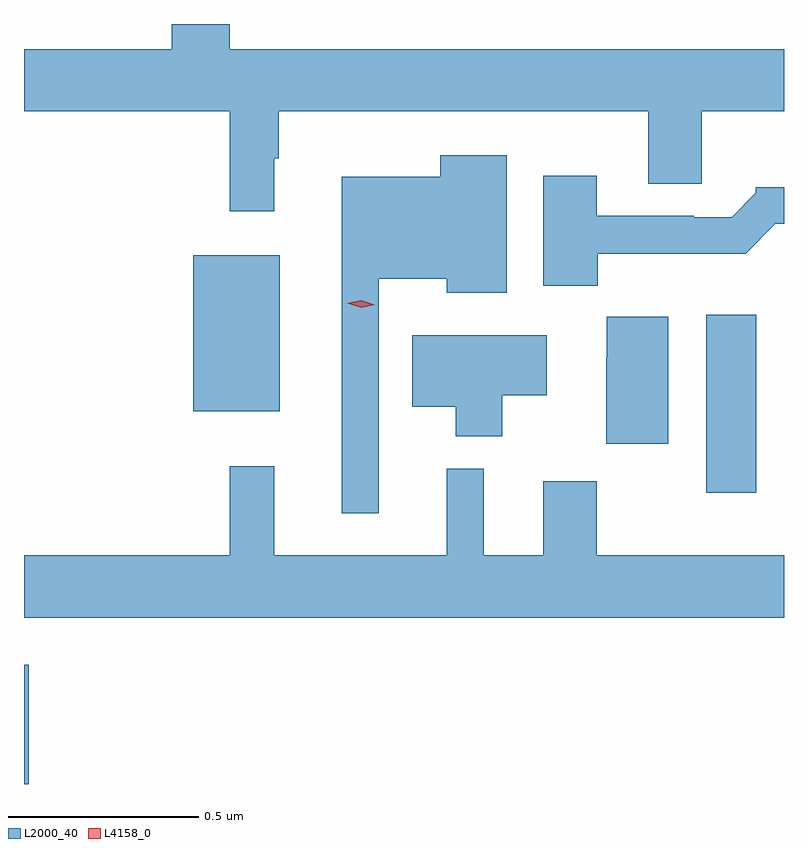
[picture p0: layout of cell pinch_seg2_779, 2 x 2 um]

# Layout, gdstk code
import gdstk
lib = gdstk.Library(unit=1e-6, precision=1e-09)
def R(c, l, rs):  # rectangles x0, y0, x1, y1
    for r in rs: c.add(gdstk.rectangle(r[:2], r[2:], *l))
def P(c, l, *ps):  # polygons
    for p in ps: c.add(gdstk.Polygon(p, *l))
L2000_40 = (2000, 40)
L4158_0 = (4158, 0)

pinch_seg2_779 = lib.new_cell('pinch_seg2_779')
R(pinch_seg2_779, L2000_40, [(693.48,661.85,693.493,662.164), (695.276,662.616,695.407,663.085), (693.926,662.831,694.153,663.241)])
P(pinch_seg2_779, L2000_40, [(694.138,663.497),(694.15,663.497),(694.15,663.62),(695.123,663.62),(695.123,663.43),(695.263,663.43),(695.263,663.62),(695.48,663.62),(695.48,663.784),(694.022,663.784),(694.022,663.85),(693.869,663.85),(693.869,663.784),(693.48,663.784),(693.48,663.62),(694.021,663.62),(694.021,663.357),(694.138,663.357)],
  [(694.413,663.179),(694.592,663.179),(694.592,663.143),(694.75,663.143),(694.75,663.505),(694.575,663.505),(694.575,663.448),(694.316,663.448),(694.316,662.562),(694.413,662.562)],
  [(694.99,663.246),(695.379,663.246),(695.457,663.324),(695.48,663.324),(695.48,663.421),(695.406,663.421),(695.406,663.406),(695.342,663.342),(695.243,663.342),(695.243,663.345),(694.987,663.345),(694.987,663.451),(694.847,663.451),(694.847,663.161),(694.99,663.161)],
  [(695.176,663.079),(695.014,663.079),(695.014,662.972),(695.012,662.972),(695.012,662.745),(695.176,662.745)],
  [(694.738,662.873),(694.855,662.873),(694.855,663.031),(694.502,663.031),(694.502,662.843),(694.616,662.843),(694.616,662.765),(694.738,662.765)],
  [(695.48,662.452),(694.987,662.452),(694.987,662.647),(694.847,662.647),(694.847,662.452),(694.69,662.452),(694.69,662.68),(694.592,662.68),(694.592,662.452),(694.139,662.452),(694.139,662.686),(694.021,662.686),(694.021,662.452),(693.48,662.452),(693.48,662.288),(695.48,662.288)])
P(pinch_seg2_779, L4158_0, [(694.367,663.103),(694.331,663.115),(694.331,663.115),(694.331,663.115),(694.368,663.123),(694.403,663.111),(694.403,663.111),(694.403,663.111)])

lib.write_gds('pinch_seg2_779.gds')
